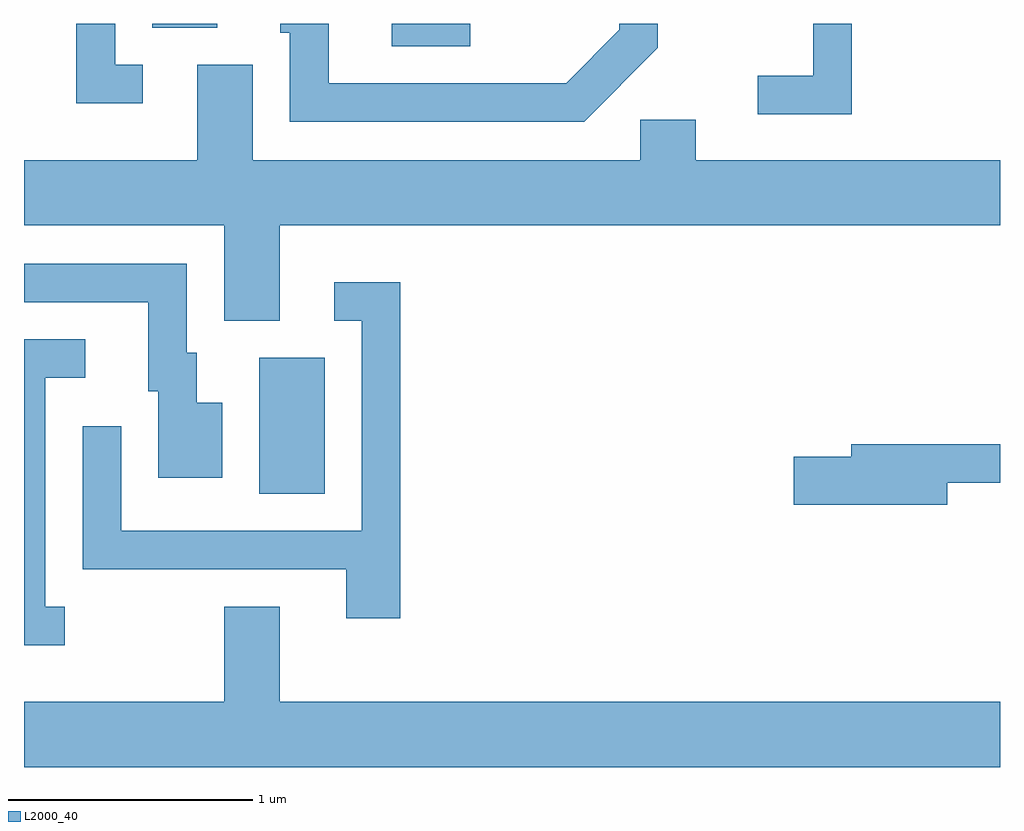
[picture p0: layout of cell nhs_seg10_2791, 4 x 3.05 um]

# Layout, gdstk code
import gdstk
lib = gdstk.Library(unit=1e-6, precision=1e-09)
def R(c, l, rs):  # rectangles x0, y0, x1, y1
    for r in rs: c.add(gdstk.rectangle(r[:2], r[2:], *l))
def P(c, l, *ps):  # polygons
    for p in ps: c.add(gdstk.Polygon(p, *l))
L2000_40 = (2000, 40)

nhs_seg10_2791 = lib.new_cell('nhs_seg10_2791')
R(nhs_seg10_2791, L2000_40, [(268.576,2110.596,268.844,2111.154), (269.118,2112.431,269.439,2112.522), (268.136,2112.506,268.404,2112.522)])
P(nhs_seg10_2791, L2000_40, [(271.004,2112.522),(270.846,2112.522),(270.846,2112.309),(270.618,2112.309),(270.618,2112.151),(271.004,2112.151)],
  [(270.209,2112.424),(270.209,2112.522),(270.051,2112.522),(270.051,2112.497),(269.834,2112.279),(268.859,2112.279),(268.859,2112.522),(268.661,2112.522),(268.661,2112.486),(268.701,2112.486),(268.701,2112.121),(269.907,2112.121)],
  [(268.098,2112.354),(267.984,2112.354),(267.984,2112.522),(267.826,2112.522),(267.826,2112.196),(268.098,2112.196)],
  [(268.659,2111.696),(271.611,2111.696),(271.611,2111.964),(270.364,2111.964),(270.364,2112.129),(270.136,2112.129),(270.136,2111.964),(268.549,2111.964),(268.549,2112.354),(268.321,2112.354),(268.321,2111.964),(267.611,2111.964),(267.611,2111.696),(268.431,2111.696),(268.431,2111.306),(268.659,2111.306)],
  [(268.424,2110.969),(268.319,2110.969),(268.319,2111.174),(268.279,2111.174),(268.279,2111.539),(267.611,2111.539),(267.611,2111.381),(268.121,2111.381),(268.121,2111.016),(268.161,2111.016),(268.161,2110.661),(268.424,2110.661)],
  [(269.154,2111.464),(268.883,2111.464),(268.883,2111.306),(268.996,2111.306),(268.996,2110.444),(268.009,2110.444),(268.009,2110.873),(267.851,2110.873),(267.851,2110.286),(268.931,2110.286),(268.931,2110.086),(269.154,2110.086)],
  [(267.778,2110.134),(267.699,2110.134),(267.699,2111.071),(267.863,2111.071),(267.863,2111.229),(267.611,2111.229),(267.611,2109.976),(267.778,2109.976)],
  [(271.394,2110.641),(271.611,2110.641),(271.611,2110.799),(271.001,2110.799),(271.001,2110.749),(270.766,2110.749),(270.766,2110.551),(271.394,2110.551)],
  [(271.611,2109.744),(268.659,2109.744),(268.659,2110.134),(268.431,2110.134),(268.431,2109.744),(267.611,2109.744),(267.611,2109.476),(271.611,2109.476)])

lib.write_gds('nhs_seg10_2791.gds')
